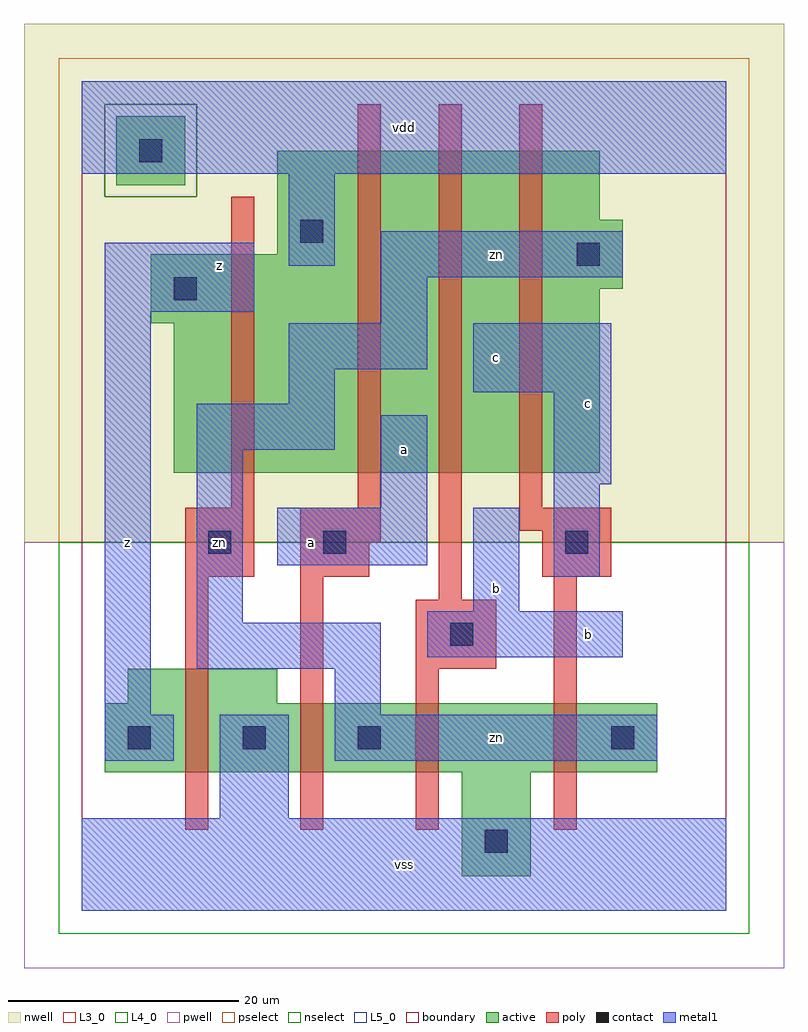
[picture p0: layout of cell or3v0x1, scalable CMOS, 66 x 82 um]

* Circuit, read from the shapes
.subckt or3v0x1 a b c vdd vss z zn
M1 vss zn z VSUBS nfet w=9u l=2u
M2 zn a vss VSUBS nfet w=6u l=2u
M3 vss b zn VSUBS nfet w=6u l=2u
M4 zn c vss VSUBS nfet w=6u l=2u
M5 vdd zn z vdd pfet w=19u l=2u
M6 n1 a vdd vdd pfet w=28u l=2u
M7 n2 b n1 vdd pfet w=28u l=2u
M8 zn c n2 vdd pfet w=28u l=2u
.ends

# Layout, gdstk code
import gdstk
lib = gdstk.Library(unit=1e-6, precision=1e-09)
def R(c, l, rs):  # rectangles x0, y0, x1, y1
    for r in rs: c.add(gdstk.rectangle(r[:2], r[2:], *l))
def A(c, l, x, y, w, h, nx, ny, dx, dy):  # array of equal rectangles
    R(c, l, [(x+i*dx, y+j*dy, x+i*dx+w, y+j*dy+h) for i in range(nx) for j in range(ny)])
L3_0 = (3, 0)
L4_0 = (4, 0)
L5_0 = (5, 0)
contact = (25, 0)
pwell = (41, 0)
nwell = (42, 0)
active = (43, 0)
pselect = (44, 0)
nselect = (45, 0)
poly = (46, 0)
metal1 = (49, 0)
boundary = (63, 0)

or3v0x1 = lib.new_cell('or3v0x1')
R(or3v0x1, L3_0, [(33,3,39,12), (2,12,50,18), (4,18,17,21)])
R(or3v0x1, L4_0, [(8,38,45,51), (6,51,45,54), (6,54,47,57), (17,57,47,60), (17,60,45,66)])
R(or3v0x1, L5_0, [(3,63,9,69)])
A(or3v0x1, contact, 4, 14, 2, 2, 3, 1, 10, 0)
R(or3v0x1, contact, [(35,5,37,7), (46,14,48,16), (32,23,34,25), (11,31,13,33), (21,31,23,33), (42,31,44,33), (8,53,10,55), (43,56,45,58), (19,58,21,60), (5,65,7,67)])
R(or3v0x1, pwell, [(-5,-5,61,32)])
R(or3v0x1, nwell, [(-5,32,61,77)])
R(or3v0x1, active, [(33,3,39,12), (2,12,50,18), (4,18,17,21), (8,38,45,51), (6,51,45,54), (6,54,47,57), (17,57,47,60), (17,60,45,66), (3,63,9,69)])
R(or3v0x1, pselect, [(-2,32,58,62), (-2,62,2,70), (10,62,58,70), (-2,70,58,74)])
R(or3v0x1, nselect, [(-2,-2,58,32), (2,62,10,70)])
R(or3v0x1, poly, [(9,7,11,29), (19,7,21,29), (29,7,31,21), (41,7,43,29), (29,21,36,27), (31,27,33,70), (9,29,15,35), (19,29,25,32), (40,29,46,33), (19,32,26,35), (38,33,46,35), (13,35,15,62), (24,35,26,70), (38,35,40,70)])
R(or3v0x1, metal1, [(0,0,56,8), (12,8,18,17), (2,13,8,17), (22,13,50,17), (2,17,6,52), (22,17,26,21), (10,21,26,25), (30,22,47,26), (10,25,14,40), (34,26,38,35), (41,29,45,37), (17,30,30,35), (26,35,30,43), (41,37,46,45), (10,40,22,44), (18,44,22,47), (34,45,46,51), (18,47,30,51), (26,51,30,55), (2,52,15,58), (26,55,47,59), (18,56,22,64), (0,64,56,72)])
R(or3v0x1, boundary, [(0,0,56,72)])
or3v0x1.add(gdstk.Label('zn', (12,32), layer=49, texttype=0))
or3v0x1.add(gdstk.Label('zn', (36,15), layer=49, texttype=0))
or3v0x1.add(gdstk.Label('zn', (36,57), layer=49, texttype=0))
or3v0x1.add(gdstk.Label('z', (4,32), layer=49, texttype=0))
or3v0x1.add(gdstk.Label('a', (20,32), layer=49, texttype=0))
or3v0x1.add(gdstk.Label('z', (12,56), layer=49, texttype=0))
or3v0x1.add(gdstk.Label('vss', (28,4), layer=49, texttype=0))
or3v0x1.add(gdstk.Label('b', (36,28), layer=49, texttype=0))
or3v0x1.add(gdstk.Label('a', (28,40), layer=49, texttype=0))
or3v0x1.add(gdstk.Label('c', (36,48), layer=49, texttype=0))
or3v0x1.add(gdstk.Label('vdd', (28,68), layer=49, texttype=0))
or3v0x1.add(gdstk.Label('b', (44,24), layer=49, texttype=0))
or3v0x1.add(gdstk.Label('c', (44,44), layer=49, texttype=0))

lib.write_gds('or3v0x1.gds')
